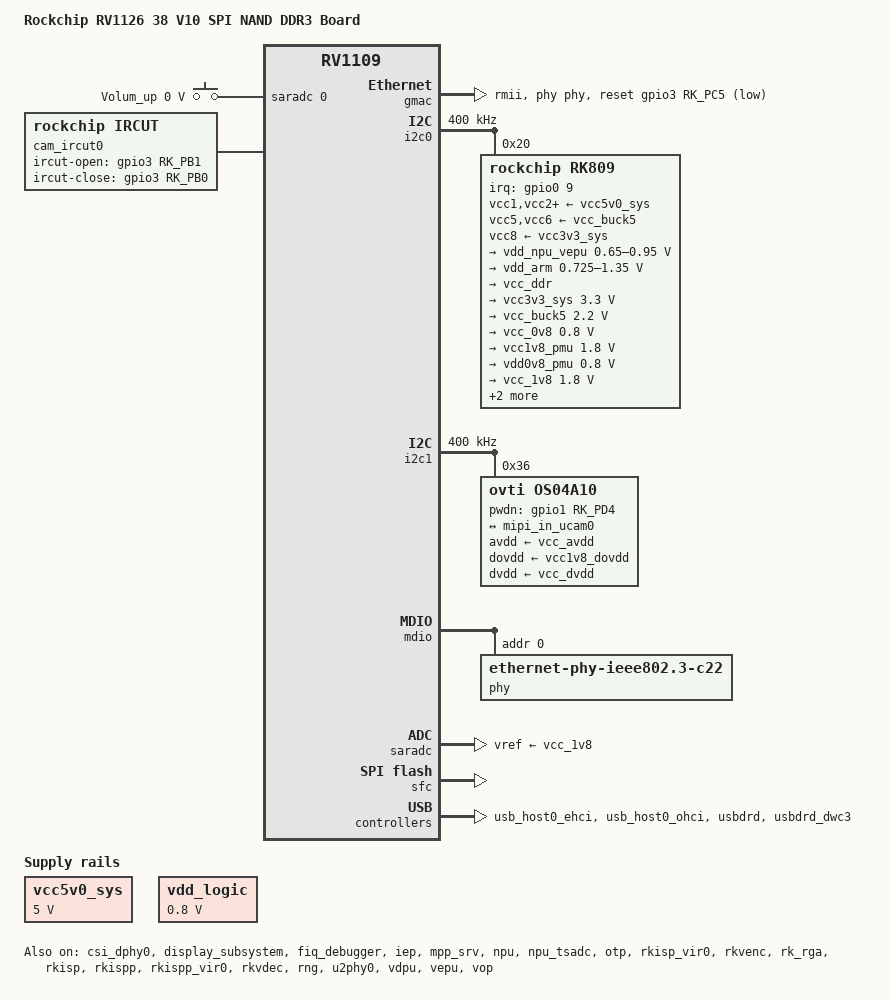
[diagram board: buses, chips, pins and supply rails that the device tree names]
// SPDX-License-Identifier: (GPL-2.0+ OR MIT)
/*
 * Copyright (c) 2020 Rockchip Electronics Co., Ltd.
 */

/dts-v1/;
#include <dt-bindings/input/input.h>
#include "rv1126.dtsi"

/ {
	model = "Rockchip RV1126 38 V10 SPI NAND DDR3 Board";
	compatible = "rockchip,rv1109-38-v10-spi-nand", "rockchip,rv1109";

	chosen {
		bootargs = "earlycon=uart8250,mmio32,0xff570000 console=ttyFIQ0 ubi.mtd=2 root=ubi0:rootfs rootfstype=ubifs snd_aloop.index=7";
	};

	adc-keys {
		compatible = "adc-keys";
		io-channels = <&saradc 0>;
		io-channel-names = "buttons";
		poll-interval = <100>;
		keyup-threshold-microvolt = <1800000>;

		recovery {
			label = "Volum_up";
			linux,code = <KEY_VOLUMEUP>;
			press-threshold-microvolt = <0>;
		};
	};

	vcc5v0_sys: vccsys {
		compatible = "regulator-fixed";
		regulator-name = "vcc5v0_sys";
		regulator-always-on;
		regulator-boot-on;
		regulator-min-microvolt = <5000000>;
		regulator-max-microvolt = <5000000>;
	};

	vdd_logic: vdd-logic {
		compatible = "regulator-fixed";
		regulator-name = "vdd_logic";
		regulator-always-on;
		regulator-boot-on;
		regulator-min-microvolt = <800000>;
		regulator-max-microvolt = <800000>;
	};

	cam_ircut0: cam_ircut {
		compatible = "rockchip,ircut";
		status = "okay";
		ircut-open-gpios = <&gpio3 RK_PB1 GPIO_ACTIVE_HIGH>;
		ircut-close-gpios = <&gpio3 RK_PB0 GPIO_ACTIVE_HIGH>;
		pinctrl-names = "default";
		pinctrl-0 = <&ircut_pins>;
		rockchip,camera-module-index = <1>;
		rockchip,camera-module-facing = "front";
	};
};

&cpu0 {
	cpu-supply = <&vdd_arm>;
};

&cpu_tsadc {
	status = "okay";
};

&csi_dphy0 {
	status = "okay";

	ports {
		#address-cells = <1>;
		#size-cells = <0>;
		port@0 {
			reg = <0>;
			#address-cells = <1>;
			#size-cells = <0>;

			mipi_in_ucam0: endpoint@1 {
				reg = <1>;
				remote-endpoint = <&ucam_out0>;
				data-lanes = <1 2 3 4>;
			};
		};
		port@1 {
			reg = <1>;
			#address-cells = <1>;
			#size-cells = <0>;

			csidphy0_out: endpoint@0 {
				reg = <0>;
				remote-endpoint = <&isp_in>;
			};
		};
	};
};

&display_subsystem {
	status = "okay";
};

&fiq_debugger {
	status = "okay";
};

&gmac {
	phy-mode = "rmii";
	clock_in_out = "output";

	snps,reset-gpio = <&gpio3 RK_PC5 GPIO_ACTIVE_LOW>;
	snps,reset-active-low;
	snps,reset-delays-us = <0 50000 50000>;

	assigned-clocks = <&cru CLK_GMAC_SRC>, <&cru CLK_GMAC_TX_RX>;
	assigned-clock-parents = <&cru CLK_GMAC_SRC_M0>, <&cru RMII_MODE_CLK>;
	assigned-clock-rates = <50000000>;

	pinctrl-names = "default";
	pinctrl-0 = <&rmiim0_pins &gmac_clk_m0_drv_level0_pins>;

	phy-handle = <&phy>;
	status = "okay";
};

&i2c0 {
	status = "okay";
	clock-frequency = <400000>;

	rk809: pmic@20 {
		compatible = "rockchip,rk809";
		reg = <0x20>;
		interrupt-parent = <&gpio0>;
		interrupts = <9 IRQ_TYPE_LEVEL_LOW>;
		pinctrl-names = "default", "pmic-sleep",
			"pmic-power-off", "pmic-reset";
		pinctrl-0 = <&pmic_int>;
		pinctrl-1 = <&soc_slppin_gpio>, <&rk817_slppin_slp>;
		pinctrl-2 = <&soc_slppin_gpio>, <&rk817_slppin_pwrdn>;
		pinctrl-3 = <&soc_slppin_slp>, <&rk817_slppin_rst>;
		rockchip,system-power-controller;
		wakeup-source;
		#clock-cells = <1>;
		clock-output-names = "rk808-clkout1", "rk808-clkout2";
		/* 0: rst the pmic, 1: rst regs (default in codes) */
		pmic-reset-func = <0>;

		vcc1-supply = <&vcc5v0_sys>;
		vcc2-supply = <&vcc5v0_sys>;
		vcc3-supply = <&vcc5v0_sys>;
		vcc4-supply = <&vcc5v0_sys>;
		vcc5-supply = <&vcc_buck5>;
		vcc6-supply = <&vcc_buck5>;
		vcc7-supply = <&vcc5v0_sys>;
		vcc8-supply = <&vcc3v3_sys>;
		vcc9-supply = <&vcc5v0_sys>;

		pwrkey {
			status = "okay";
		};

		pinctrl_rk8xx: pinctrl_rk8xx {
			gpio-controller;
			#gpio-cells = <2>;

			/omit-if-no-ref/
			rk817_slppin_null: rk817_slppin_null {
				pins = "gpio_slp";
				function = "pin_fun0";
			};

			/omit-if-no-ref/
			rk817_slppin_slp: rk817_slppin_slp {
				pins = "gpio_slp";
				function = "pin_fun1";
			};

			/omit-if-no-ref/
			rk817_slppin_pwrdn: rk817_slppin_pwrdn {
				pins = "gpio_slp";
				function = "pin_fun2";
			};

			/omit-if-no-ref/
			rk817_slppin_rst: rk817_slppin_rst {
				pins = "gpio_slp";
				function = "pin_fun3";
			};
		};

		regulators {
			vdd_npu_vepu: DCDC_REG1 {
				regulator-always-on;
				regulator-boot-on;
				regulator-min-microvolt = <650000>;
				regulator-max-microvolt = <950000>;
				regulator-ramp-delay = <6001>;
				regulator-initial-mode = <0x2>;
				regulator-name = "vdd_npu_vepu";
				regulator-state-mem {
					regulator-off-in-suspend;
				};
			};

			vdd_arm: DCDC_REG2 {
				regulator-always-on;
				regulator-boot-on;
				regulator-min-microvolt = <725000>;
				regulator-max-microvolt = <1350000>;
				regulator-ramp-delay = <6001>;
				regulator-initial-mode = <0x2>;
				regulator-name = "vdd_arm";
				regulator-state-mem {
					regulator-off-in-suspend;
				};
			};

			vcc_ddr: DCDC_REG3 {
				regulator-always-on;
				regulator-boot-on;
				regulator-initial-mode = <0x2>;
				regulator-name = "vcc_ddr";
				regulator-state-mem {
					regulator-on-in-suspend;
				};
			};

			vcc3v3_sys: DCDC_REG4 {
				regulator-always-on;
				regulator-boot-on;
				regulator-min-microvolt = <3300000>;
				regulator-max-microvolt = <3300000>;
				regulator-initial-mode = <0x2>;
				regulator-name = "vcc3v3_sys";
				regulator-state-mem {
					regulator-on-in-suspend;
					regulator-suspend-microvolt = <3300000>;
				};
			};

			vcc_buck5: DCDC_REG5 {
				regulator-always-on;
				regulator-boot-on;
				regulator-min-microvolt = <2200000>;
				regulator-max-microvolt = <2200000>;
				regulator-name = "vcc_buck5";
				regulator-state-mem {
					regulator-on-in-suspend;
					regulator-suspend-microvolt = <2200000>;
				};
			};

			vcc_0v8: LDO_REG1 {
				regulator-always-on;
				regulator-boot-on;
				regulator-min-microvolt = <800000>;
				regulator-max-microvolt = <800000>;
				regulator-name = "vcc_0v8";
				regulator-state-mem {
					regulator-off-in-suspend;
				};
			};

			vcc1v8_pmu: LDO_REG2 {
				regulator-always-on;
				regulator-boot-on;
				regulator-min-microvolt = <1800000>;
				regulator-max-microvolt = <1800000>;
				regulator-name = "vcc1v8_pmu";
				regulator-state-mem {
					regulator-on-in-suspend;
					regulator-suspend-microvolt = <1800000>;
				};
			};

			vdd0v8_pmu: LDO_REG3 {
				regulator-always-on;
				regulator-boot-on;
				regulator-min-microvolt = <800000>;
				regulator-max-microvolt = <800000>;
				regulator-name = "vcc0v8_pmu";
				regulator-state-mem {
					regulator-on-in-suspend;
					regulator-suspend-microvolt = <800000>;
				};
			};

			vcc_1v8: LDO_REG4 {
				regulator-always-on;
				regulator-boot-on;
				regulator-min-microvolt = <1800000>;
				regulator-max-microvolt = <1800000>;
				regulator-name = "vcc_1v8";
				regulator-state-mem {
					regulator-on-in-suspend;
					regulator-suspend-microvolt = <1800000>;
				};
			};

			vcc1v8_dovdd: LDO_REG5 {
				regulator-boot-on;
				regulator-min-microvolt = <1800000>;
				regulator-max-microvolt = <1800000>;
				regulator-name = "vcc1v8_dovdd";
				regulator-state-mem {
					regulator-off-in-suspend;
				};
			};

			vcc_dvdd: LDO_REG6 {
				regulator-min-microvolt = <1200000>;
				regulator-max-microvolt = <1200000>;
				regulator-name = "vcc_dvdd";
				regulator-state-mem {
					regulator-off-in-suspend;
				};
			};

			vcc_avdd: LDO_REG7 {
				regulator-min-microvolt = <2800000>;
				regulator-max-microvolt = <2800000>;
				regulator-name = "vcc_avdd";
				regulator-state-mem {
					regulator-off-in-suspend;
				};
			};

			vccio_sd: LDO_REG8 {
				regulator-always-on;
				regulator-boot-on;
				regulator-min-microvolt = <1800000>;
				regulator-max-microvolt = <3300000>;
				regulator-name = "vccio_sd";
				regulator-state-mem {
					regulator-off-in-suspend;
				};
			};

			vcc3v3_sd: LDO_REG9 {
				regulator-always-on;
				regulator-boot-on;
				regulator-min-microvolt = <3300000>;
				regulator-max-microvolt = <3300000>;
				regulator-name = "vcc3v3_sd";
				regulator-state-mem {
					regulator-off-in-suspend;
				};
			};

			vcc5v0_host: SWITCH_REG1 {
				regulator-name = "vcc5v0_host";
			};

			vcc_3v3: SWITCH_REG2 {
				regulator-always-on;
				regulator-boot-on;
				regulator-name = "vcc_3v3";
			};
		};

		rk809_codec: codec {
			#sound-dai-cells = <0>;
			compatible = "rockchip,rk809-codec", "rockchip,rk817-codec";
			clocks = <&cru MCLK_I2S0_TX_OUT2IO>;
			clock-names = "mclk";
			pinctrl-names = "default";
			assigned-clocks = <&cru MCLK_I2S0_TX_OUT2IO>;
			assigned-clock-parents = <&cru MCLK_I2S0_TX>;
			pinctrl-0 = <&i2s0m0_mclk>;
			hp-volume = <20>;
			spk-volume = <3>;
		};
	};
};

&i2c1 {
	status = "okay";
	clock-frequency = <400000>;

	os04a10: os04a10@36 {
		compatible = "ovti,os04a10";
		reg = <0x36>;
		clocks = <&cru CLK_MIPICSI_OUT>;
		clock-names = "xvclk";
		power-domains = <&power RV1126_PD_VI>;
		pinctrl-names = "rockchip,camera_default";
		pinctrl-0 = <&mipicsi_clk0>;
		avdd-supply = <&vcc_avdd>;
		dovdd-supply = <&vcc1v8_dovdd>;
		dvdd-supply = <&vcc_dvdd>;
		pwdn-gpios = <&gpio1 RK_PD4 GPIO_ACTIVE_HIGH>;
		rockchip,camera-module-index = <1>;
		rockchip,camera-module-facing = "front";
		rockchip,camera-module-name = "CMK-OT1607-FV1";
		rockchip,camera-module-lens-name = "M12-40IRC-4MP-F16";
		ir-cut = <&cam_ircut0>;
		port {
			ucam_out0: endpoint {
				remote-endpoint = <&mipi_in_ucam0>;
				data-lanes = <1 2 3 4>;
			};
		};
	};
};

&iep {
	status = "okay";
};

&iep_mmu {
	status = "okay";
};

&mdio {
	phy: phy@0 {
		compatible = "ethernet-phy-ieee802.3-c22";
		reg = <0x0>;
	};
};

&mpp_srv {
	status = "okay";
};

&npu {
	npu-supply = <&vdd_npu_vepu>;
	status = "okay";
};

&npu_tsadc {
	status = "okay";
};

&optee {
	status = "disabled";
};

&otp {
	status = "okay";
};

&pinctrl {
	ircut {
		/omit-if-no-ref/
		ircut_pins: ircut-pins {
			rockchip,pins = <3 RK_PB0 RK_FUNC_GPIO &pcfg_pull_up>,
					<3 RK_PB1 RK_FUNC_GPIO &pcfg_pull_up>;
		};
	};

	pmic {
		/omit-if-no-ref/
		pmic_int: pmic_int {
			rockchip,pins =
				<0 RK_PB1 RK_FUNC_GPIO &pcfg_pull_up>;
		};

		/omit-if-no-ref/
		soc_slppin_gpio: soc_slppin_gpio {
			rockchip,pins =
				<0 RK_PB2 RK_FUNC_GPIO &pcfg_output_low>;
		};

		/omit-if-no-ref/
		soc_slppin_slp: soc_slppin_slp {
			rockchip,pins =
				<0 RK_PB2 RK_FUNC_1 &pcfg_pull_none>;
		};

		/omit-if-no-ref/
		soc_slppin_rst: soc_slppin_rst {
			rockchip,pins =
				<0 RK_PB2 RK_FUNC_2 &pcfg_pull_none>;
		};
	};
};

&pmu_io_domains {
	status = "okay";

	pmuio0-supply = <&vcc1v8_pmu>;
	pmuio1-supply = <&vcc3v3_sys>;
	vccio2-supply = <&vccio_sd>;
	vccio4-supply = <&vcc_1v8>;
	vccio5-supply = <&vcc_3v3>;
	vccio6-supply = <&vcc_3v3>;
	vccio7-supply = <&vcc_1v8>;
};

&rkisp_vir0 {
	status = "okay";

	ports {
		port@0 {
			reg = <0>;
			#address-cells = <1>;
			#size-cells = <0>;

			isp_in: endpoint@0 {
				reg = <0>;
				remote-endpoint = <&csidphy0_out>;
			};
		};
	};
};

&rkvenc {
	venc-supply = <&vdd_npu_vepu>;
	status = "okay";
};

&ramoops {
	status = "okay";
};

&rk_rga {
	status = "okay";
};

&rkisp {
	status = "okay";
};

&rkisp_mmu {
	status = "okay";
};

&rkispp {
	status = "okay";
};

&rkispp_vir0 {
	status = "okay";
};

&rkispp_mmu {
	status = "okay";
};

&rkvdec {
	status = "okay";
};

&rkvdec_mmu {
	status = "okay";
};

&rkvenc_mmu {
	status = "okay";
};

&rng {
	status = "okay";
};

&rockchip_suspend {
	status = "okay";
	rockchip,sleep-debug-en = <1>;
	rockchip,sleep-mode-config = <
		(0
		| RKPM_SLP_ARMOFF
		| RKPM_SLP_PMU_PMUALIVE_32K
		| RKPM_SLP_PMU_DIS_OSC
		)
	>;
};

&saradc {
	status = "okay";
	vref-supply = <&vcc_1v8>;
};

&sfc {
	/delete-property/ pinctrl-names;
	/delete-property/ pinctrl-0;
	status = "okay";
};

&u2phy0 {
	status = "okay";
	u2phy_otg: otg-port {
		status = "okay";
	};
};

&usb_host0_ehci {
	status = "okay";
};

&usb_host0_ohci {
	status = "okay";
};

&usbdrd {
	status = "okay";
};

&usbdrd_dwc3 {
	status = "okay";
	extcon = <&u2phy0>;
};

&vdpu {
	status = "okay";
};

&vepu {
	status = "okay";
};

&vpu_mmu {
	status = "okay";
};

&vop {
	status = "okay";
};

